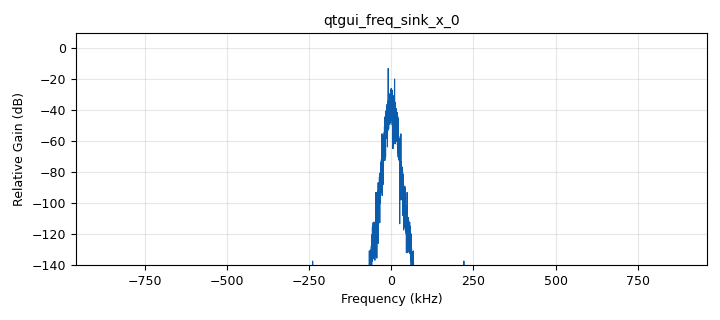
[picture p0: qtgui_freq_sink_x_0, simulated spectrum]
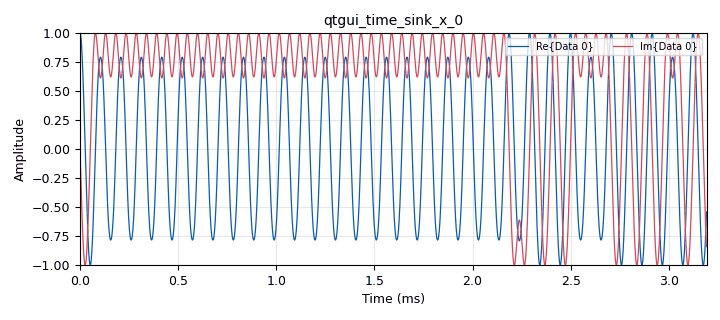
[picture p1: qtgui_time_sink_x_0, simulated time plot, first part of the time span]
options:
  parameters:
    author: knud
    generate_options: qt_gui
    id: GS_baseband_to_file
    output_language: python
    title: Not titled yet
  states: {}

blocks:
- name: data_rate
  id: variable
  parameters:
    value: '{es_mode == 0: 1200, es_mode==1: 2400, es_mode==2:4800,es_mode==3:9600,es_mode==4:9600}.get(True,19200)'
  states: {}
- name: data_rate_label
  id: variable_qtgui_label
  parameters:
    gui_hint: 0,1,1,1
    label: Data Rate
    type: int
    value: data_rate
  states: {}
- name: es_mode
  id: variable_qtgui_chooser
  parameters:
    comment: |-
      This will set the es_mode at runtime,
      but it appears the flow graph does 
      not properly update even though all
      the variables derived from this value
      do update.

      Use the es_mode variable.
    gui_hint: 0,0,1,1
    label: Radio Mode
    labels: '["2GFSK_1200bps_600Hz_m1","2GFSK_2400bps_600Hz_m0_5","2GFSK_4800bps_1200Hz_m0_5","2GFSK_9600bps_2400Hz_m0_5","2GFSK_9600bps_4800Hz_m1","2GFSK_19200bps_4800Hz_m0_5","2GFSK_19200bps_9600Hz_m1","2GFSK_19200bps_19200Hz_m2"]'
    num_opts: '0'
    options: '[0,1,2,3,4,5,6,7]'
    type: int
    value: '7'
  states: {state: disabled}
- name: es_mode
  id: variable
  parameters:
    comment: |-
      EnduroSat Mode
        = [0,1,2,3,4,5,6,7]

      Choose a value before
      running this flowgraph
    value: '6'
  states: {}
- name: es_mode_label
  id: variable_qtgui_label
  parameters:
    gui_hint: 0,0,1,1
    label: 'EnduroSat UHF II Mode : '
    type: int
    value: es_mode
  states: {}
- name: fec_rate
  id: variable
  parameters:
    value: 1/2
  states: {}
- name: freq_dev
  id: variable
  parameters:
    value: '{es_mode == 0: 600, es_mode==1: 600, es_mode==2:1200,es_mode==3:2400,es_mode==4:4800,es_mode==5:4800,es_mode==6:9600}.get(True,19200)'
  states: {}
- name: freq_dev_label
  id: variable_qtgui_label
  parameters:
    gui_hint: 0,2,1,1
    label: Freq Dev
    type: int
    value: freq_dev
  states: {}
- name: interval_ms
  id: variable
  parameters:
    value: '1000'
  states: {}
- name: max_pipe_payload_len
  id: variable
  parameters:
    value: '128'
  states: {}
- name: mod_index
  id: variable
  parameters:
    value: '{es_mode == 0: 1, es_mode==1: 0.5, es_mode==2:0.5,es_mode==3:0.5,es_mode==4:1,es_mode==5:0.5,es_mode==6:1}.get(True,2)'
  states: {}
- name: mod_index_label
  id: variable_qtgui_label
  parameters:
    gui_hint: 0,3,1,1
    label: Mod Index
    type: real
    value: mod_index
  states: {}
- name: mpdu_header_len
  id: variable
  parameters:
    value: 3*3
  states: {}
- name: mpdu_payload_len
  id: variable
  parameters:
    value: max_pipe_payload_len- mpdu_header_len
  states: {}
- name: pipe_preamble_sync_data_field_1_len
  id: variable
  parameters:
    value: '7'
  states: {}
- name: samp_rate
  id: variable
  parameters:
    value: data_rate*samples_per_symbol
  states: {}
- name: samples_per_symbol
  id: variable
  parameters:
    value: '100'
  states: {}
- name: sensitivity_label
  id: variable_qtgui_label
  parameters:
    gui_hint: 0,4,1,1
    label: Mod Index
    type: real
    value: sensitivity_tx
  states: {}
- name: sensitivity_tx
  id: variable
  parameters:
    value: 2*np.math.pi*(freq_dev/(data_rate*samples_per_symbol))
  states: {}
- name: user_payload_len
  id: variable
  parameters:
    value: int(np.floor(mpdu_payload_len*fec_rate))
  states: {}
- name: blocks_message_strobe_0
  id: blocks_message_strobe
  parameters:
    msg: pmt.cons(pmt.make_dict(), pmt.init_u8vector(10, (1,2,3,4,5,6,7,8,9,10)))
    period: interval_ms
  states: {}
- name: blocks_throttle2_0
  id: blocks_throttle2
  parameters:
    samples_per_second: data_rate
    type: byte
  states: {}
- name: digital_gfsk_mod_0
  id: digital_gfsk_mod
  parameters:
    bt: '0.5'
    samples_per_symbol: samples_per_symbol
    sensitivity: sensitivity_tx
  states: {}
- name: epy_block_0
  id: epy_block
  parameters:
    _source_code: |
      """
      Embedded Python Block
      """

      import numpy as np
      from gnuradio import gr
      import pmt

      class blk(gr.sync_block):
          """Packet Format"""

          def __init__(self, fec_rate=0.5, mpdu_payload_len=119, mpdu_header_len=9):
              gr.sync_block.__init__(self,
                  name = "Packet Format",
                  in_sig = None,
                  out_sig = None)
              self.message_port_register_in(pmt.intern('pdu_in'))
              self.message_port_register_out(pmt.intern('pdu_out'))
              self.set_msg_handler(pmt.intern('pdu_in'), self.handle_msg)
              self.fec_rate = fec_rate
              self.mpdu_payload_len = mpdu_payload_len
              self.mpdu_header_len = mpdu_header_len

          def handle_msg(self, msg):
              inMsg = pmt.to_python (msg)
              pld = inMsg[1]
              #print (pld)
              mUserPayloadLen = len(pld)
              #print (mUserPayloadLen)
              if (mUserPayloadLen > 0 and mUserPayloadLen <= self.mpdu_payload_len):
                  # Not actually going to use the FEC rate now, just pad the packet
                  # to the max MPDU len
                  mPaddingLen = self.mpdu_payload_len - mUserPayloadLen
                  print (mPaddingLen)
                  # 5 preamble bytes, 1 sync byte
                  char_list = [0xAA,0xAA,0xAA,0xAA,0xAA,0x7E]
                  # data field 1
                  total_payload_length = self.mpdu_payload_len + self.mpdu_header_len
                  char_list.append (total_payload_length & 255)
                  # MPDU header is next. Make it all 0xFF
                  for i in range(0,self.mpdu_header_len):
                      char_list.append(255)
                  # We'll make the FEC method systemic, keeping the original message 
                  # at the start of the data 2 field and then padding out with zeros
                  char_list.extend (pld)
                  for i in range(0,mPaddingLen):
                      char_list.append(0)
                  print (char_list)
                  out_len = len(char_list)
                  self.message_port_pub(pmt.intern('pdu_out'), pmt.cons(pmt.PMT_NIL,pmt.init_u8vector(out_len,(char_list))))
    fec_rate: fec_rate
    mpdu_header_len: mpdu_header_len
    mpdu_payload_len: mpdu_payload_len
  states: {}
- name: import_0_0
  id: import
  parameters:
    imports: import numpy as np
  states: {}
- name: network_socket_pdu_0
  id: network_socket_pdu
  parameters:
    mtu: '10000'
    port: '52001'
    type: TCP_SERVER
  states: {}
- name: pdu_pdu_to_tagged_stream_0
  id: pdu_pdu_to_tagged_stream
  parameters:
    tag: packet_len
    type: byte
  states: {}
- name: pdu_random_pdu_0
  id: pdu_random_pdu
  parameters:
    length_modulo: '1'
    mask: '0xFF'
    maxsize: user_payload_len
    minsize: user_payload_len
  states: {}
- name: qtgui_freq_sink_x_0
  id: qtgui_freq_sink_x
  parameters:
    bw: samp_rate
    ctrlpanel: 'True'
    fc: '0'
    fftsize: '32768'
    type: complex
  states: {}
- name: qtgui_time_sink_x_0
  id: qtgui_time_sink_x
  parameters:
    size: samples_per_symbol*(user_payload_len+pipe_preamble_sync_data_field_1_len)*8
    srate: samp_rate
    tr_mode: qtgui.TRIG_MODE_TAG
    tr_tag: '"packet_len"'
    type: complex
  states: {}

connections:
- [blocks_message_strobe_0, strobe, pdu_random_pdu_0, generate]
- [blocks_throttle2_0, '0', digital_gfsk_mod_0, '0']
- [digital_gfsk_mod_0, '0', qtgui_freq_sink_x_0, '0']
- [digital_gfsk_mod_0, '0', qtgui_time_sink_x_0, '0']
- [epy_block_0, pdu_out, pdu_pdu_to_tagged_stream_0, pdus]
- [pdu_pdu_to_tagged_stream_0, '0', blocks_throttle2_0, '0']
- [pdu_random_pdu_0, pdus, epy_block_0, pdu_in]

metadata:
  file_format: 1
  grc_version: 3.10.6.0
